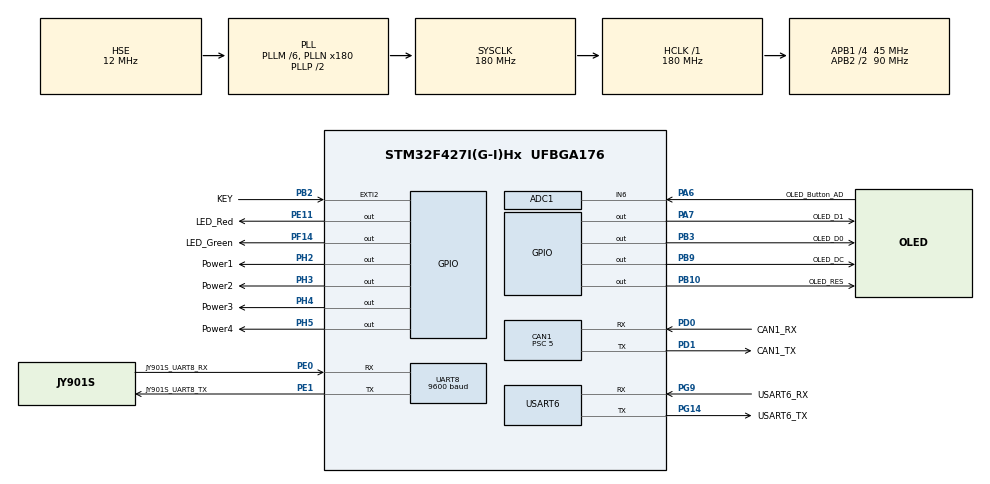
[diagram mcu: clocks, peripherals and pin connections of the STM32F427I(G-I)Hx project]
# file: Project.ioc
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ADC1.Channel-0\#ChannelRegularConversion=ADC_CHANNEL_6
ADC1.ContinuousConvMode=ENABLE
ADC1.InjNumberOfConversion=0
ADC1.NbrOfConversionFlag=1
ADC1.Rank-0\#ChannelRegularConversion=1
ADC1.SamplingTime-0\#ChannelRegularConversion=ADC_SAMPLETIME_3CYCLES
ADC1.master=1
CAN1.BS1=CAN_BS1_3TQ
CAN1.BS2=CAN_BS2_5TQ
CAN1.CalculateBaudRate=1000000
CAN1.CalculateTimeBit=1000
CAN1.CalculateTimeQuantum=111.11111111111111
CAN1.Prescaler=5
Mcu.Family=STM32F4
Mcu.Name=STM32F427I(G-I)Hx
Mcu.Package=UFBGA176
NVIC.ADC_IRQn=true\:0\:0\:false\:false\:true\:true\:true\:true
NVIC.CAN1_RX0_IRQn=true\:5\:0\:true\:false\:true\:true\:true\:true
NVIC.EXTI2_IRQn=true\:0\:0\:false\:false\:true\:true\:true\:true
NVIC.PriorityGroup=NVIC_PRIORITYGROUP_4
NVIC.UART8_IRQn=true\:0\:0\:false\:false\:true\:true\:true\:true
NVIC.USART6_IRQn=true\:0\:0\:false\:false\:true\:true\:true\:true
PA13.Mode=Serial_Wire
PA13.Signal=SYS_JTMS-SWDIO
PA14.Mode=Serial_Wire
PA14.Signal=SYS_JTCK-SWCLK
PA6.GPIO_Label=OLED_Button_AD
PA6.Signal=ADCx_IN6
PA7.GPIO_Label=OLED_D1
PA7.GPIO_PuPd=GPIO_PULLUP
PA7.GPIO_Speed=GPIO_SPEED_FREQ_HIGH
PA7.Signal=GPIO_Output
PB10.GPIO_Label=OLED_RES
PB10.GPIO_PuPd=GPIO_PULLUP
PB10.GPIO_Speed=GPIO_SPEED_FREQ_HIGH
PB10.Signal=GPIO_Output
PB2/BOOT1.GPIO_Label=KEY
PB2/BOOT1.GPIO_PuPd=GPIO_PULLDOWN
PB2/BOOT1.Signal=GPXTI2
PB3.GPIO_Label=OLED_D0
PB3.GPIO_PuPd=GPIO_PULLUP
PB3.GPIO_Speed=GPIO_SPEED_FREQ_HIGH
PB3.Signal=GPIO_Output
PB9.GPIO_Label=OLED_DC
PB9.GPIO_PuPd=GPIO_PULLUP
PB9.GPIO_Speed=GPIO_SPEED_FREQ_HIGH
PB9.Signal=GPIO_Output
PD0.GPIO_Label=CAN1_RX
PD0.Mode=CAN_Activate
PD0.Signal=CAN1_RX
PD1.GPIO_Label=CAN1_TX
PD1.Mode=CAN_Activate
PD1.Signal=CAN1_TX
PE0.GPIO_Label=JY901S_UART8_RX
PE0.GPIO_ModeDefaultPP=GPIO_MODE_AF_PP
PE0.GPIO_PuPd=GPIO_PULLUP
PE0.GPIO_Speed=GPIO_SPEED_FREQ_VERY_HIGH
PE0.Mode=Asynchronous
PE0.Signal=UART8_RX
PE1.GPIO_Label=JY901S_UART8_TX
PE1.GPIO_ModeDefaultPP=GPIO_MODE_AF_PP
PE1.GPIO_PuPd=GPIO_PULLUP
PE1.GPIO_Speed=GPIO_SPEED_FREQ_VERY_HIGH
PE1.Mode=Asynchronous
PE1.Signal=UART8_TX
PE11.GPIO_Label=LED_Red
PE11.GPIO_PuPd=GPIO_PULLUP
PE11.GPIO_Speed=GPIO_SPEED_FREQ_LOW
PE11.Signal=GPIO_Output
PF14.GPIO_Label=LED_Green
PF14.GPIO_PuPd=GPIO_PULLUP
PF14.GPIO_Speed=GPIO_SPEED_FREQ_LOW
PF14.Signal=GPIO_Output
PG14.GPIO_Label=USART6_TX
PG14.GPIO_PuPd=GPIO_PULLUP
PG14.GPIO_Speed=GPIO_SPEED_FREQ_VERY_HIGH
PG14.Mode=Asynchronous
PG14.Signal=USART6_TX
PG9.GPIO_Label=USART6_RX
PG9.GPIO_PuPd=GPIO_PULLUP
PG9.GPIO_Speed=GPIO_SPEED_FREQ_VERY_HIGH
PG9.Mode=Asynchronous
PG9.Signal=USART6_RX
PH0/OSC_IN.Mode=HSE-External-Oscillator
PH0/OSC_IN.Signal=RCC_OSC_IN
PH1/OSC_OUT.Mode=HSE-External-Oscillator
PH1/OSC_OUT.Signal=RCC_OSC_OUT
PH2.GPIO_Label=Power1
PH2.GPIO_ModeDefaultOutputPP=GPIO_MODE_OUTPUT_PP
PH2.GPIO_PuPd=GPIO_PULLDOWN
PH2.GPIO_Speed=GPIO_SPEED_FREQ_LOW
PH2.PinState=GPIO_PIN_RESET
PH2.Signal=GPIO_Output
PH3.GPIO_Label=Power2
PH3.GPIO_ModeDefaultOutputPP=GPIO_MODE_OUTPUT_PP
PH3.GPIO_PuPd=GPIO_PULLDOWN
PH3.GPIO_Speed=GPIO_SPEED_FREQ_LOW
PH3.PinState=GPIO_PIN_RESET
PH3.Signal=GPIO_Output
PH4.GPIO_Label=Power3
PH4.GPIO_ModeDefaultOutputPP=GPIO_MODE_OUTPUT_PP
PH4.GPIO_PuPd=GPIO_PULLDOWN
PH4.GPIO_Speed=GPIO_SPEED_FREQ_LOW
PH4.PinState=GPIO_PIN_RESET
PH4.Signal=GPIO_Output
PH5.GPIO_Label=Power4
PH5.GPIO_ModeDefaultOutputPP=GPIO_MODE_OUTPUT_PP
PH5.GPIO_PuPd=GPIO_PULLDOWN
PH5.GPIO_Speed=GPIO_SPEED_FREQ_LOW
PH5.PinState=GPIO_PIN_RESET
PH5.Signal=GPIO_Output
ProjectManager.HeapSize=0x200
ProjectManager.StackSize=0x400
ProjectManager.TargetToolchain=MDK-ARM V5.32
RCC.48MHZClocksFreq_Value=90000000
RCC.AHBFreq_Value=180000000
RCC.APB1CLKDivider=RCC_HCLK_DIV4
RCC.APB1Freq_Value=45000000
RCC.APB1TimFreq_Value=90000000
RCC.APB2CLKDivider=RCC_HCLK_DIV2
RCC.APB2Freq_Value=90000000
RCC.APB2TimFreq_Value=180000000
RCC.CortexFreq_Value=180000000
RCC.HCLKFreq_Value=180000000
RCC.HSE_VALUE=12000000
RCC.HSI_VALUE=16000000
RCC.LSE_VALUE=32768
RCC.PLLM=6
RCC.PLLN=180
RCC.PLLSourceVirtual=RCC_PLLSOURCE_HSE
RCC.SYSCLKFreq_VALUE=180000000
RCC.SYSCLKSource=RCC_SYSCLKSOURCE_PLLCLK
RCC.VCOOutputFreq_Value=360000000
SH.ADCx_IN6.0=ADC1_IN6,IN6
UART8.BaudRate=9600
UART8.VirtualMode=Asynchronous
USART6.VirtualMode=VM_ASYNC
board=custom

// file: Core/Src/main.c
/* USER CODE BEGIN Header */
/**
  ******************************************************************************
  * @file           : main.c
  * @brief          : Main program body
  ******************************************************************************
  * @attention
  *
  * Copyright (c) 2024 STMicroelectronics.
  * All rights reserved.
  *
  * This software is licensed under terms that can be found in the LICENSE file
  * in the root directory of this software component.
  * If no LICENSE file comes with this software, it is provided AS-IS.
  *
  ******************************************************************************
  */
/* USER CODE END Header */
#include "main.h"
#include "adc.h"
#include "can.h"
#include "usart.h"
#include "gpio.h"

void SystemClock_Config(void);

int main(void)
{

  /* MCU Configuration--------------------------------------------------------*/

  /* Reset of all peripherals, Initializes the Flash interface and the Systick. */
  HAL_Init();

  /* Configure the system clock */
  SystemClock_Config();

  /* Initialize all configured peripherals */
  MX_GPIO_Init();
  MX_ADC1_Init();
  MX_CAN1_Init();
  MX_USART6_UART_Init();
  MX_UART8_Init();
  /* USER CODE BEGIN 2 */
  Delay_Init(180);
  LED_Init();
  KEY_Init();
  OLED_Init();
  OLED_Button_Init();
  Power_Init();
  Motor_Preferred_Init();

  for(int i=0; i<4; i++)
  {
    Motor_PID_Init(&Motor_PID[i]);
    Motor_PID[i].F_Motor_PID_Param_Init(&Motor_PID[i], PID_DELTA, 16384, 5000, 10, 0, PID);
  }
  Motor_Data[0] = Get_Motor_Measure_Pointer(0);       //获取ID为1号的电机数据指针
  Motor_Data[1] = Get_Motor_Measure_Pointer(1);       //获取ID为2号的电机数据指针
  Motor_Data[2] = Get_Motor_Measure_Pointer(2);       //获取ID为3号的电机数据指针
  Motor_Data[3] = Get_Motor_Measure_Pointer(3);       //获取ID为4号的电机数据指针
  HAL_Delay(100);

  HAL_UART_Receive_IT(&UARTX_Handle, Receive_Data.Receive_Data_Buf, SEND_DATA_SIZE);
  HAL_UART_Receive_IT(&JY901S_UARTX_Handle, USART_Rx_Data_JY901S, 1);
  /* USER CODE END 2 */

  /* Infinite loop */
  /* USER CODE BEGIN WHILE */

  OLED_Update();

  while (1)
  {
    /* USER CODE END WHILE */

    /* USER CODE BEGIN 3 */
    Robot_Move(Robot_Vcx, Robot_Vcy, Robot_Wc);
    Data_Transform();
    USART6_Send_Data();

    HAL_Delay(10);
  }
  /* USER CODE END 3 */
}

void SystemClock_Config(void)
{
  RCC_OscInitTypeDef RCC_OscInitStruct = {0};
  RCC_ClkInitTypeDef RCC_ClkInitStruct = {0};

  /** Configure the main internal regulator output voltage
  */
  __HAL_RCC_PWR_CLK_ENABLE();
  __HAL_PWR_VOLTAGESCALING_CONFIG(PWR_REGULATOR_VOLTAGE_SCALE1);

  /** Initializes the RCC Oscillators according to the specified parameters
  * in the RCC_OscInitTypeDef structure.
  */
  RCC_OscInitStruct.OscillatorType = RCC_OSCILLATORTYPE_HSE;
  RCC_OscInitStruct.HSEState = RCC_HSE_ON;
  RCC_OscInitStruct.PLL.PLLState = RCC_PLL_ON;
  RCC_OscInitStruct.PLL.PLLSource = RCC_PLLSOURCE_HSE;
  RCC_OscInitStruct.PLL.PLLM = 6;
  RCC_OscInitStruct.PLL.PLLN = 180;
  RCC_OscInitStruct.PLL.PLLP = RCC_PLLP_DIV2;
  RCC_OscInitStruct.PLL.PLLQ = 4;
  if (HAL_RCC_OscConfig(&RCC_OscInitStruct) != HAL_OK)
  {
    Error_Handler();
  }

  /** Activate the Over-Drive mode
  */
  if (HAL_PWREx_EnableOverDrive() != HAL_OK)
  {
    Error_Handler();
  }

  /** Initializes the CPU, AHB and APB buses clocks
  */
  RCC_ClkInitStruct.ClockType = RCC_CLOCKTYPE_HCLK|RCC_CLOCKTYPE_SYSCLK
                              |RCC_CLOCKTYPE_PCLK1|RCC_CLOCKTYPE_PCLK2;
  RCC_ClkInitStruct.SYSCLKSource = RCC_SYSCLKSOURCE_PLLCLK;
  RCC_ClkInitStruct.AHBCLKDivider = RCC_SYSCLK_DIV1;
  RCC_ClkInitStruct.APB1CLKDivider = RCC_HCLK_DIV4;
  RCC_ClkInitStruct.APB2CLKDivider = RCC_HCLK_DIV2;

  if (HAL_RCC_ClockConfig(&RCC_ClkInitStruct, FLASH_LATENCY_5) != HAL_OK)
  {
    Error_Handler();
  }
}

void Error_Handler(void)
{
  __disable_irq();
  while (1)
  {
  }
}
